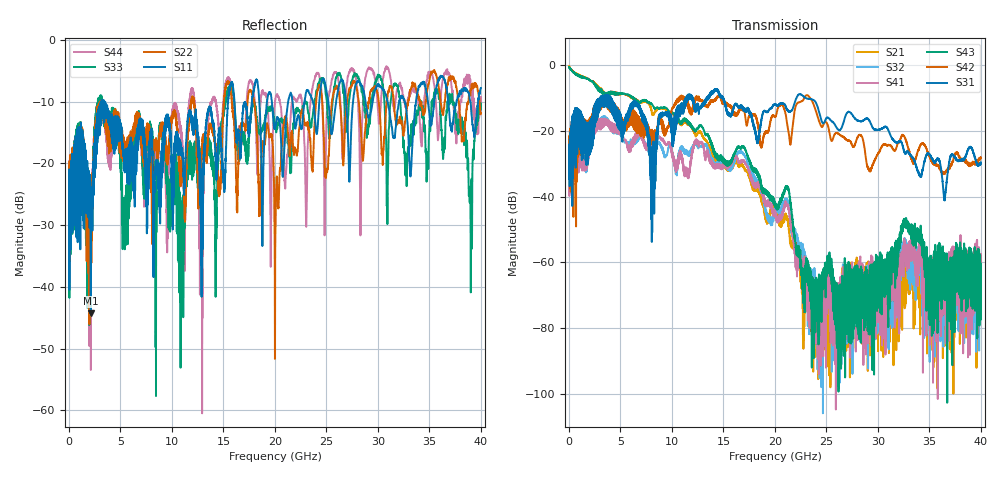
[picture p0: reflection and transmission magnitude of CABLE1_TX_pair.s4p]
!Keysight Technologies,N5245B,MY57181400,A.12.70.07
!Date: Monday, January 1, 2020 00:00:00
!Correction: S11(Full 16 Port(1,2,3,4,5,6,7,8,9,10,11,12,13,14,15,16))
!S12(Full 16 Port(1,2,3,4,5,6,7,8,9,10,11,12,13,14,15,16))
!S13(Full 16 Port(1,2,3,4,5,6,7,8,9,10,11,12,13,14,15,16))
!S14(Full 16 Port(1,2,3,4,5,6,7,8,9,10,11,12,13,14,15,16))
!S21(Full 16 Port(1,2,3,4,5,6,7,8,9,10,11,12,13,14,15,16))
!S22(Full 16 Port(1,2,3,4,5,6,7,8,9,10,11,12,13,14,15,16))
!S23(Full 16 Port(1,2,3,4,5,6,7,8,9,10,11,12,13,14,15,16))
!S24(Full 16 Port(1,2,3,4,5,6,7,8,9,10,11,12,13,14,15,16))
!S31(Full 16 Port(1,2,3,4,5,6,7,8,9,10,11,12,13,14,15,16))
!S32(Full 16 Port(1,2,3,4,5,6,7,8,9,10,11,12,13,14,15,16))
!S33(Full 16 Port(1,2,3,4,5,6,7,8,9,10,11,12,13,14,15,16))
!S34(Full 16 Port(1,2,3,4,5,6,7,8,9,10,11,12,13,14,15,16))
!S41(Full 16 Port(1,2,3,4,5,6,7,8,9,10,11,12,13,14,15,16))
!S42(Full 16 Port(1,2,3,4,5,6,7,8,9,10,11,12,13,14,15,16))
!S43(Full 16 Port(1,2,3,4,5,6,7,8,9,10,11,12,13,14,15,16))
!S44(Full 16 Port(1,2,3,4,5,6,7,8,9,10,11,12,13,14,15,16))
!S4P File: Measurements: <S11,S12,S13,S14>,
!<S21,S22,S23,S24>,
!<S31,S32,S33,S34>,
!<S41,S42,S43,S44>:
# Hz S  dB  R 50
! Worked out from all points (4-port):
!   6401 points, 10 MHz to 40 GHz, reference 50 ohm
!   strongest paths, dB at 10 MHz, 10.01 GHz, 20 GHz, 30 GHz, 40 GHz:
!     S31: -26.2, -18.7, -12.1, -19.8, -29.8
!     S42: -25.7, -13.3, -15.9, -27.0, -28.4
!     S43: -0.7, -14.6, -41.8, -60.8, -66.5
!     S41: -35.4, -26.7, -44.4, -71.1, -67.2
!     S32: -34.4, -26.1, -43.5, -67.0, -61.8
!     S21: -0.4, -14.9, -43.4, -74.1, -70.7
!   lowest |S11| = -44.3 dB at 2.116 GHz (marker M1), VSWR 1.01, Z = 49.8 - j0.568 ohm
!   |S11| at or under -10 dB: start of sweep to 3.141 GHz; 3.373 GHz to 15.45 GHz (12.07 GHz wide, 128 % of centre); 16.06 GHz to 17.76 GHz (1.697 GHz wide, 10 % of centre)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
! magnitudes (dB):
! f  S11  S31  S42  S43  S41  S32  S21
! 10 MHz  -22.3  -26.2  -25.7  -0.7  -35.4  -34.4  -0.4
! 2.116 GHz  -44.3  -18.1  -17.5  -4.9  -24.8  -25.0  -5.0
! 2.997 GHz  -10.9  -10.1  -10.1  -8.0  -17.1  -16.9  -7.6
! 16.8 GHz  -13.9  -12.6  -13.6  -24.8  -29.1  -26.4  -30.3
! 26.18 GHz  -7.6  -19.8  -21.0  -68.5  -70.6  -76.2  -73.4
! 32.6 GHz  -10.1  -26.8  -21.9  -47.3  -54.7  -52.6  -73.9
! 40 GHz  -7.8  -29.8  -28.4  -66.5  -67.2  -61.8  -70.7
